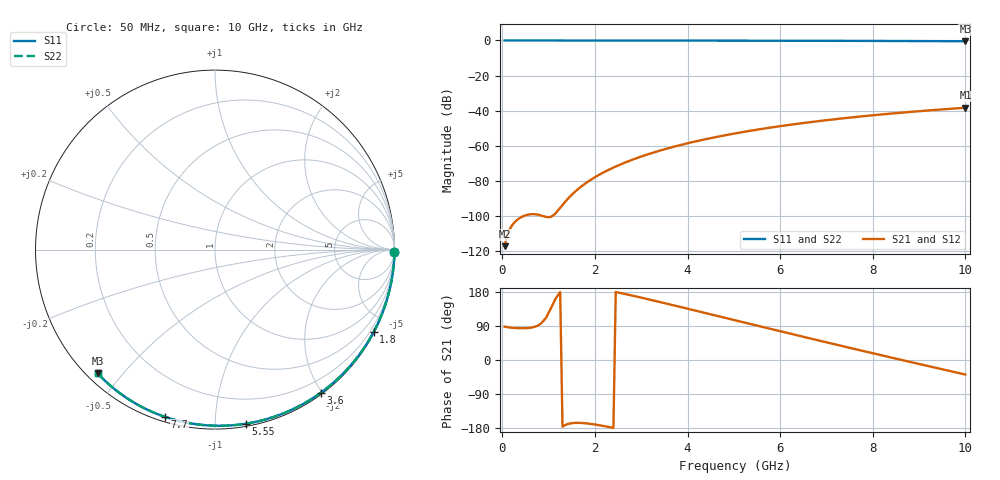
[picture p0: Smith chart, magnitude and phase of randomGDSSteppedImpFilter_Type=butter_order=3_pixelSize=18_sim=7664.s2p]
! freq	dB(S11)	phase(S11)	dB(S12)	phase(S12)
!  dB(S21)	phase(S21)	dB(S22)	phase(S22)
!S-par simulation data
#  GHz  S  DB  R 50
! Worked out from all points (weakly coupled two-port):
!   200 points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, 50 MHz to 10 GHz, reference 50 ohm
!   highest |S21| = -38.29 dB at 10 GHz (marker M1); lowest = -117.1 dB at 50 MHz (marker M2)
!   lowest |S11| = -0.4 dB at 10 GHz (marker M3), VSWR 39.10, Z = 1.51 - j21.4 ohm
!   |S11| at or under -10 dB: nowhere
!   |S22| runs from -0.4 to 0.0 dB; largest |S21 - S12| = 0
!   S11 on the Smith chart (normalised r, x): 50 MHz: open; 1.8 GHz: 0.04, -4.11; 3.6 GHz: 0.02, -1.99; 5.55 GHz: 0.02, -1.19; 7.7 GHz: 0.02, -0.74; 10 GHz: 0.03, -0.43
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0.05  -0.00 -0.8  -117.07 88.2  -117.07 88.2  -0.00 -0.8
0.9  -0.02 -13.8  -100.10 104.8  -100.10 104.8  -0.02 -13.8
1.75  -0.03 -26.6  -82.21 -166.5  -82.21 -166.5  -0.03 -26.6
1.8  -0.03 -27.4  -81.26 -167.0  -81.26 -167.0  -0.03 -27.4
1.85  -0.04 -28.1  -80.35 -167.7  -80.35 -167.7  -0.04 -28.1
1.9  -0.04 -28.8  -79.48 -168.4  -79.48 -168.4  -0.04 -28.8
2.05  -0.04 -31.1  -77.07 -171.2  -77.07 -171.2  -0.04 -31.1
2.25  -0.04 -34.0  -74.23 -175.6  -74.23 -175.6  -0.04 -34.0
2.45  -0.05 -37.0  -71.73 179.5  -71.73 179.5  -0.05 -37.0
2.65  -0.05 -39.9  -69.49 174.2  -69.49 174.2  -0.05 -39.9
3  -0.06 -44.9  -66.06 164.6  -66.06 164.6  -0.06 -44.9
3.4  -0.07 -50.6  -62.71 153.1  -62.71 153.1  -0.07 -50.6
3.6  -0.07 -53.5  -61.22 147.2  -61.22 147.2  -0.07 -53.5
4.3  -0.09 -63.2  -56.71 126.5  -56.71 126.5  -0.09 -63.2
5.05  -0.11 -73.3  -52.79 104.2  -52.79 104.2  -0.11 -73.3
5.55  -0.13 -79.8  -50.57 89.3  -50.57 89.3  -0.13 -79.8
6.1  -0.15 -86.9  -48.40 73.0  -48.40 73.0  -0.15 -86.9
6.7  -0.18 -94.4  -46.32 55.4  -46.32 55.4  -0.18 -94.4
7.7  -0.24 -106.6  -43.36 26.4  -43.36 26.4  -0.24 -106.6
8.35  -0.29 -114.4  -41.71 7.8  -41.71 7.8  -0.29 -114.3
9.15  -0.36 -123.7  -39.93 -14.7  -39.93 -14.7  -0.36 -123.7
10  -0.44 -133.5  -38.29 -38.4  -38.29 -38.4  -0.44 -133.5
